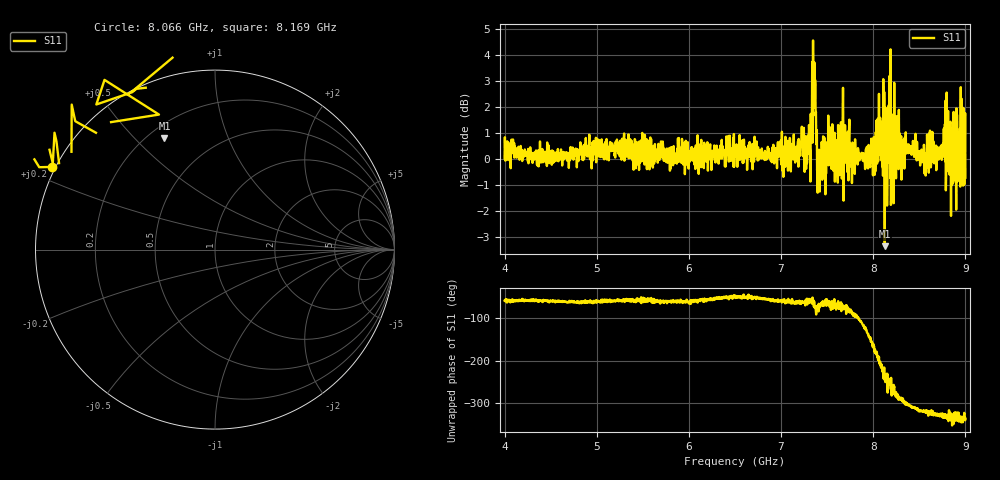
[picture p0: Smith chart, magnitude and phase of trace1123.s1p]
! Created with skrf 1.8.0 (http://scikit-rf.org).
# Hz S RI R 50.0
!freq ReS11 ImS11
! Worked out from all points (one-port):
!   1601 points, 4 GHz to 9 GHz, reference 50 ohm
!   lowest |S11| = -3.3 dB at 8.125 GHz (marker M1), VSWR 5.26, Z = 13.2 + j30.6 ohm
!   |S11| at or under -10 dB: nowhere
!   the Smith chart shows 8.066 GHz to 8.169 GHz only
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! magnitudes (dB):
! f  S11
! 4 GHz  0.0
! 4.625 GHz  -0.2
! 5.25 GHz  0.1
! 5.875 GHz  0.3
! 6.5 GHz  0.1
! 7.125 GHz  0.2
! 7.294 GHz  0.2
! 7.356 GHz  3.7
! 7.369 GHz  3.0
! 7.4 GHz  -0.3
! 7.416 GHz  -0.4
! 7.538 GHz  1.1
! 7.591 GHz  0.3
! 7.65 GHz  1.4
! 7.75 GHz  0.1
! 8 GHz  0.4
! 8.097 GHz  -0.3
! 8.125 GHz  -3.3
! 8.181 GHz  1.3
! 8.216 GHz  1.3
! 8.253 GHz  1.6
! 8.312 GHz  0.7
! 8.375 GHz  0.6
! 8.556 GHz  -0.5
! 8.788 GHz  -1.2
! 8.844 GHz  -2.2
! 8.972 GHz  0.8
! 9 GHz  -0.7
